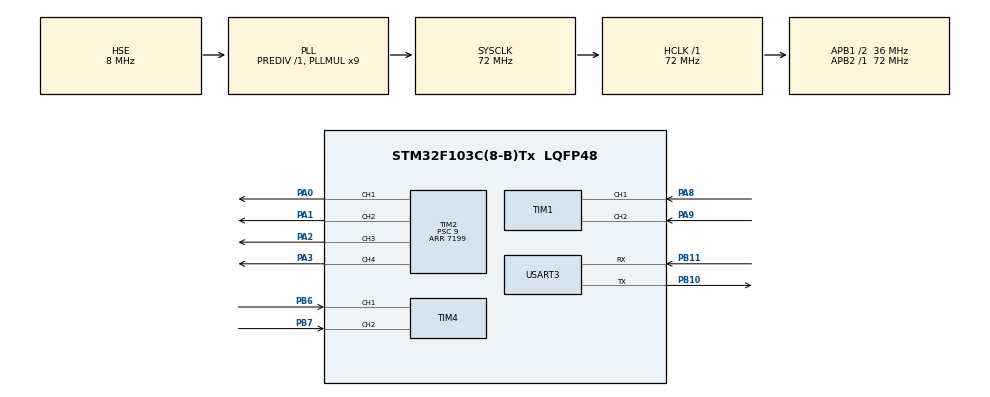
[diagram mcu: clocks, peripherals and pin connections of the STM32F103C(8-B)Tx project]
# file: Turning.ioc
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Mcu.Family=STM32F1
Mcu.Name=STM32F103C(8-B)Tx
Mcu.Package=LQFP48
NVIC.PriorityGroup=NVIC_PRIORITYGROUP_4
NVIC.TIM3_IRQn=true\:2\:0\:true\:false\:true\:true\:true\:true
NVIC.USART3_IRQn=true\:0\:0\:true\:false\:true\:true\:true\:true
PA0-WKUP.Signal=S_TIM2_CH1_ETR
PA1.Signal=S_TIM2_CH2
PA13.Mode=Serial_Wire
PA13.Signal=SYS_JTMS-SWDIO
PA14.Mode=Serial_Wire
PA14.Signal=SYS_JTCK-SWCLK
PA2.Signal=S_TIM2_CH3
PA3.Signal=S_TIM2_CH4
PA8.Signal=S_TIM1_CH1
PA9.Signal=S_TIM1_CH2
PB10.Mode=Asynchronous
PB10.Signal=USART3_TX
PB11.Mode=Asynchronous
PB11.Signal=USART3_RX
PB6.Signal=S_TIM4_CH1
PB7.Signal=S_TIM4_CH2
PD0-OSC_IN.Mode=HSE-External-Oscillator
PD0-OSC_IN.Signal=RCC_OSC_IN
PD1-OSC_OUT.Mode=HSE-External-Oscillator
PD1-OSC_OUT.Signal=RCC_OSC_OUT
ProjectManager.HeapSize=0x200
ProjectManager.StackSize=0x400
ProjectManager.TargetToolchain=STM32CubeIDE
RCC.AHBFreq_Value=72000000
RCC.APB1CLKDivider=RCC_HCLK_DIV2
RCC.APB1Freq_Value=36000000
RCC.APB1TimFreq_Value=72000000
RCC.APB2Freq_Value=72000000
RCC.APB2TimFreq_Value=72000000
RCC.HCLKFreq_Value=72000000
RCC.PLLMUL=RCC_PLL_MUL9
RCC.PLLSourceVirtual=RCC_PLLSOURCE_HSE
RCC.SYSCLKFreq_VALUE=72000000
RCC.SYSCLKSource=RCC_SYSCLKSOURCE_PLLCLK
RCC.USBFreq_Value=72000000
SH.S_TIM1_CH1.0=TIM1_CH1,Encoder_Interface
SH.S_TIM1_CH2.0=TIM1_CH2,Encoder_Interface
SH.S_TIM2_CH1_ETR.0=TIM2_CH1,PWM Generation1 CH1
SH.S_TIM2_CH2.0=TIM2_CH2,PWM Generation2 CH2
SH.S_TIM2_CH3.0=TIM2_CH3,PWM Generation3 CH3
SH.S_TIM2_CH4.0=TIM2_CH4,PWM Generation4 CH4
SH.S_TIM4_CH1.0=TIM4_CH1,Encoder_Interface
SH.S_TIM4_CH2.0=TIM4_CH2,Encoder_Interface
TIM1.EncoderMode=TIM_ENCODERMODE_TI12
TIM2.Channel-PWM\ Generation1\ CH1=TIM_CHANNEL_1
TIM2.Channel-PWM\ Generation2\ CH2=TIM_CHANNEL_2
TIM2.Channel-PWM\ Generation3\ CH3=TIM_CHANNEL_3
TIM2.Channel-PWM\ Generation4\ CH4=TIM_CHANNEL_4
TIM2.CounterMode=TIM_COUNTERMODE_CENTERALIGNED3
TIM2.Period=7199
TIM2.Prescaler=9
TIM3.Period=99
TIM3.Prescaler=7199
TIM4.CounterMode=TIM_COUNTERMODE_UP
TIM4.EncoderMode=TIM_ENCODERMODE_TI12
USART3.VirtualMode=VM_ASYNC
VP_TIM3_VS_ClockSourceINT.Mode=Internal
board=custom

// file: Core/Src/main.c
/* USER CODE BEGIN Header */
/**
  ******************************************************************************
  * @file           : main.c
  * @brief          : Main program body
  ******************************************************************************
  * @attention
  *
  * Copyright (c) 2023 STMicroelectronics.
  * All rights reserved.
  *
  * This software is licensed under terms that can be found in the LICENSE file
  * in the root directory of this software component.
  * If no LICENSE file comes with this software, it is provided AS-IS.
  *
  ******************************************************************************
  */
/* USER CODE END Header */
#include "main.h"
#include "tim.h"
#include "usart.h"
#include "gpio.h"

/* USER CODE BEGIN Includes */
#include "motor.h"
#include "pid.h"
#include "stdio.h"
#include "serial.h"
#include "string.h"
/* USER CODE END Includes */

void SystemClock_Config(void);

/* USER CODE BEGIN 0 */
Motor_t motor1, motor2;
PID_CONTROL_t pid1,pid2,pid3;
PROCESS_t process;

extern uint8_t g_nRxBuff[MAX_LEN];
extern uint8_t g_strCommand[4];
extern uint8_t  g_nRxData[16];
extern uint8_t g_kp[4];
extern uint8_t g_ki[4];
extern uint8_t g_kd[4];
extern uint8_t g_Setpoint[4];
extern bool g_bDataAvailable;

uint8_t g_strTxCommand[4];
uint8_t g_nTxData[16];
uint8_t* g_vel1;
uint8_t* g_pos;
uint8_t* g_vel2;

uint16_t k = 0;
uint16_t c = 0;
float velocitySetpoint;

/* USER CODE END 0 */

int main(void)
{

  /* MCU Configuration--------------------------------------------------------*/

  /* Reset of all peripherals, Initializes the Flash interface and the Systick. */
  HAL_Init();

  /* Configure the system clock */
  SystemClock_Config();

  /* Initialize all configured peripherals */
  MX_GPIO_Init();
  MX_TIM4_Init();
  MX_TIM3_Init();
  MX_TIM2_Init();
  MX_USART3_UART_Init();
  MX_TIM1_Init();
  /* USER CODE BEGIN 2 */

// cho vao motor init
  HAL_TIM_Encoder_Start(&htim4, TIM_CHANNEL_1);
  HAL_TIM_Encoder_Start(&htim4, TIM_CHANNEL_2);

  HAL_TIM_Encoder_Start(&htim1, TIM_CHANNEL_1);
  HAL_TIM_Encoder_Start(&htim1, TIM_CHANNEL_2);

  HAL_TIM_Base_Start_IT(&htim3);

  HAL_TIM_PWM_Start(&htim2, TIM_CHANNEL_1);
  HAL_TIM_PWM_Start(&htim2, TIM_CHANNEL_2);
  HAL_TIM_PWM_Start(&htim2, TIM_CHANNEL_3);
  HAL_TIM_PWM_Start(&htim2, TIM_CHANNEL_4);

  HAL_UART_Receive_IT(&huart3, (uint8_t *)g_nRxBuff, MAX_LEN);
  SerialInit();

  pid3.dKp = 0.35;
  pid3.dKi = 0.9;
  pid3.dKd = 0.0001;

  /* USER CODE END 2 */

  /* Infinite loop */
  while (1)
  {

    /* USER CODE BEGIN 3 */
	  if(g_bDataAvailable == true)
		  	      {
		  	        if(StrCompare(g_strCommand, (uint8_t*)"SPID", 4))
		  	        {
		  	          process = SPID;
		  	        }
		  	        else if(StrCompare(g_strCommand, (uint8_t*)"VTUN", 4))
		  	        {
		  	          process = VTUN;
		  	        }
		  	        else if(StrCompare(g_strCommand, (uint8_t*)"PTUN", 4))
		  	        {
		  	          process = PTUN;
		  	        }
		  	      else if(StrCompare(g_strCommand, (uint8_t*)"STOP", 4))
		  	       {
		  	      	 process = STOP;
		  	       }
		  	        else
		  	        {
		  	          process = NONE;
		  	        }
		  	        g_bDataAvailable = false;
		  	      }
	  switch(process)
	 	  	      {
	 	  	        case NONE:
	 	  	          SerialAcceptReceive();
	 	  	          break;
	 	  	        case SPID:
	 	  	        	PIDReset(&pid1);
	 	  	        	PIDReset(&pid2);
	 	  	        	//get parameter
	 	  	        	pid1.dKp = (*(float*)g_kp);
	 	  	        	pid1.dKi = (*(float*)g_ki);
	 	  	        	pid1.dKd = (*(float*)g_kd);

	 	  	        	pid2.dKp = pid1.dKp;
	 	  	        	pid2.dKi = pid1.dKi;
	 	  	        	pid2.dKd = pid1.dKd ;
	 	  	        	//get setPoint
	 	  	        	motor1.setPoint=(*(float*)g_Setpoint);
	 	  	        	motor2.setPoint=motor1.setPoint;

	 	  	        	process= NONE;
	 	  	          break;
	 	  	        case VTUN:

	 	  	        	break;
	 	  	        case PTUN:

	 	  	        	break;
	 	  	        case STOP:

	 	  	        	 PIDReset(&pid1);
	 	  	        	 PIDReset(&pid2);
	 	  	        	 PIDReset(&pid3);

	 	  	        	 MotorReset(&motor1);
	 	  	        	 MotorReset(&motor2);

	 	  	        	 htim4.Instance->CNT=0;
	 	  	        	 htim1.Instance->CNT=0;

	 	  	        	 MotorSetDuty1(0);
	 	  	        	 MotorSetDuty2(0);

	 	  	        	 k = 0;
	 	  	        	 c = 0;

	 	  	        	process= NONE;
	 	  	        	break;
	 	  	         SerialAcceptReceive();
	 	  	      }
  }
  /* USER CODE END 3 */
}

void SystemClock_Config(void)
{
  RCC_OscInitTypeDef RCC_OscInitStruct = {0};
  RCC_ClkInitTypeDef RCC_ClkInitStruct = {0};

  /** Initializes the RCC Oscillators according to the specified parameters
  * in the RCC_OscInitTypeDef structure.
  */
  RCC_OscInitStruct.OscillatorType = RCC_OSCILLATORTYPE_HSE;
  RCC_OscInitStruct.HSEState = RCC_HSE_ON;
  RCC_OscInitStruct.HSEPredivValue = RCC_HSE_PREDIV_DIV1;
  RCC_OscInitStruct.HSIState = RCC_HSI_ON;
  RCC_OscInitStruct.PLL.PLLState = RCC_PLL_ON;
  RCC_OscInitStruct.PLL.PLLSource = RCC_PLLSOURCE_HSE;
  RCC_OscInitStruct.PLL.PLLMUL = RCC_PLL_MUL9;
  if (HAL_RCC_OscConfig(&RCC_OscInitStruct) != HAL_OK)
  {
    Error_Handler();
  }

  /** Initializes the CPU, AHB and APB buses clocks
  */
  RCC_ClkInitStruct.ClockType = RCC_CLOCKTYPE_HCLK|RCC_CLOCKTYPE_SYSCLK
                              |RCC_CLOCKTYPE_PCLK1|RCC_CLOCKTYPE_PCLK2;
  RCC_ClkInitStruct.SYSCLKSource = RCC_SYSCLKSOURCE_PLLCLK;
  RCC_ClkInitStruct.AHBCLKDivider = RCC_SYSCLK_DIV1;
  RCC_ClkInitStruct.APB1CLKDivider = RCC_HCLK_DIV2;
  RCC_ClkInitStruct.APB2CLKDivider = RCC_HCLK_DIV1;

  if (HAL_RCC_ClockConfig(&RCC_ClkInitStruct, FLASH_LATENCY_2) != HAL_OK)
  {
    Error_Handler();
  }
}

/* USER CODE BEGIN 4 */

void HAL_TIM_PeriodElapsedCallback(TIM_HandleTypeDef *htim)
{

	  if(htim->Instance == htim3.Instance)
	  {

		  switch(process)
		  	 	  	      {
		  	 	  	        case NONE:
		  	 	  	          break;
		  	 	  	        case SPID:
		  	 	  	          break;
		  	 	  	        case VTUN:
							   k++;
//							   if(k % 700 == 0){
//								   motor1.setPoint+=50;
//								   motor2.setPoint+=50;
//							   }

							   ReadEncoder(&motor1, &htim4);
							   ReadEncoder(&motor2, &htim1);

							   MotorSetDuty1((int) MotorTuningVelocity(&pid1, &motor1, motor1.setPoint));
							   MotorSetDuty2((int) MotorTuningVelocity(&pid2, &motor2, motor2.setPoint));
							//cast data

							   g_vel2 = (uint8_t*)(&motor2.velocity);
							   g_vel1 = (uint8_t*)(&motor1.velocity);
							   g_pos = (uint8_t*)(&motor1.position);

							   memcpy(g_nTxData, g_vel2, 4);
							   memcpy(g_nTxData+4, g_vel1, 4);
							   memcpy(g_nTxData+8, g_pos, 4);

							//send data
							   SerialWriteComm(g_strCommand, g_nTxData);
		  	 	  	        	break;

		  	 	  	        case PTUN:

							   ReadEncoder(&motor1, &htim4);
							   ReadEncoder(&motor2, &htim1);
							   if(c==1)
							   {
								   motor1.setPoint = 60;
							   }

							   else if(c == 85)
							   {
								   motor1.setPoint = 0;
							   }
							   else if(c==170)
							   {
								   c=0;
							   }

							   if(k == 0){
								   velocitySetpoint =  MotorTuningPosition(&pid1, &motor1, motor1.setPoint);
							   }
							   MotorSetDuty1( MotorTuningVelocity(&pid3, &motor1, velocitySetpoint) );

							   k++;
							   if(k == 3){
								   k = 0;
							   }

							   c++;

		  	 	  	       //cast data
							   g_vel2= (uint8_t*)(&motor2.velocity);
							   g_vel1 = (uint8_t*)(&motor1.velocity);
							   g_pos = (uint8_t*)(&motor1.position);

							   memcpy(g_nTxData, g_vel2, 4);
							   memcpy(g_nTxData+4, g_vel1, 4);
							   memcpy(g_nTxData+8, g_pos, 4);

							//send data
							   SerialWriteComm(g_strCommand, g_nTxData);
		  	 	  	       	   break;
		  	 	  	        case STOP:
		  	 	  	        	break;
		  	 	  	      }
	  }
	  }

/* USER CODE END 4 */

void Error_Handler(void)
{
  __disable_irq();
  while (1)
  {
  }
}
